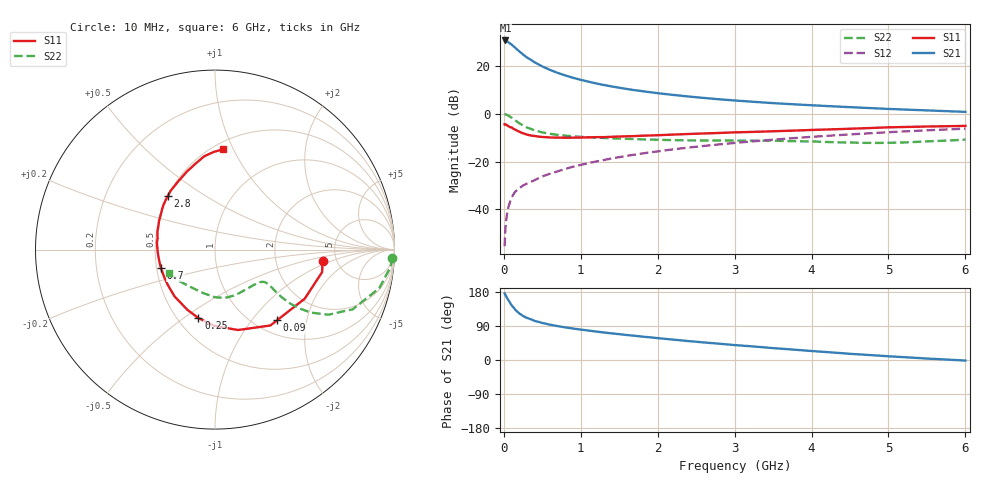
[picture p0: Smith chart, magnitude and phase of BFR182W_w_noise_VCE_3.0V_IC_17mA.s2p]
! Infineon Technologies  Discrete & RF Semiconductors
! BFR182W
! VCE =  3.0 V,  IC =  17 mA
! Common Emitter S-Parameters:  Jan 2017
# GHz  S  MA  R  50
!  f  S11  S21  S12  S22
! GHz  MAG  ANG  MAG  ANG  MAG  ANG  MAG  ANG
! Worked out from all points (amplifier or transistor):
!   77 points, 10 MHz to 6 GHz, reference 50 ohm
!   highest |S21| = 30.7 dB at 20 MHz (marker M1)
!   |S21| within 3 dB of that: start of sweep to 145.9 MHz
!   unconditionally stable (mu >= 1): 852.7 MHz to 2.41 GHz
!   at 130 MHz: K = 0.39, MSG = 30.8 dB, |S12| = -33.5 dB
!   at 2.2 GHz: K = 1.01, MAG = 10.7 dB, |S12| = -14.9 dB
!   at 6 GHz: K = 0.87, MSG = 3.5 dB, |S12| = -6.2 dB
!   lowest NFmin = 1.32 dB at 450 MHz
!   S11 on the Smith chart (normalised r, x): 10 MHz: 3.87, -0.77; 90 MHz: 1.25, -1.35; 250 MHz: 0.63, -0.57; 700 MHz: 0.53, -0.12; 2.8 GHz: 0.50, +0.36; 6 GHz: 0.56, +0.91
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0.01  0.6029 -6.0  34.3 175.8  0.0017 89.1  0.987 -2.6
0.02  0.6097 -11.9  34.47 172.0  0.0039 89.8  0.9829 -5.6
0.05  0.5699 -28.7  32.6 160.6  0.0096 75.9  0.9399 -13.3
0.09  0.5241 -48.6  29.07 148.0  0.0159 70.5  0.8541 -21.3
0.1  0.5234 -53.9  28.44 144.4  0.0175 69.8  0.8356 -23.5
0.15  0.4658 -74.1  24.09 132.2  0.0237 65.5  0.7276 -29.9
0.2  0.4242 -90.7  20.4 123.1  0.0276 63.9  0.6394 -33.3
0.25  0.3921 -103.7  17.54 116.1  0.0318 62.3  0.5716 -34.9
0.3  0.3691 -114.6  15.21 111.0  0.0346 62.7  0.5192 -35.6
0.4  0.3448 -130.7  12.01 103.2  0.0409 63.7  0.452 -35.5
0.5  0.3288 -143.1  9.841 97.7  0.0491 64.8  0.4099 -34.7
0.6  0.3211 -153.0  8.345 93.2  0.0559 66.4  0.3823 -33.8
0.7  0.3184 -160.9  7.221 89.4  0.0626 67.6  0.3633 -33.2
0.9  0.3179 -173.4  5.69 83.0  0.0782 68.5  0.3398 -33.0
1.1  0.3223 177.1  4.72 77.7  0.0933 69.0  0.3252 -33.6
1.5  0.3362 162.4  3.524 68.2  0.1243 68.5  0.3039 -37.5
2.1  0.3628 145.8  2.603 55.8  0.1724 65.6  0.2846 -47.9
2.8  0.3986 131.0  2.022 42.9  0.2297 60.9  0.2773 -63.7
3.1  0.4142 125.1  1.86 37.9  0.2546 58.5  0.2755 -70.3
4.1  0.4659 108.7  1.488 22.3  0.3387 49.9  0.2612 -92.8
5.1  0.5271 95.4  1.252 8.7  0.421 40.3  0.2499 -125.5
6  0.5606 85.3  1.103 -1.5  0.4905 31.1  0.2892 -152.6
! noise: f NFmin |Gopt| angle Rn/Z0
0.45  1.32  0.06  165  0.15
0.9  1.38  0.07  166  0.15
1.9  1.89  0.25  -146  0.15
2.4  2.15  0.25  -131  0.24
